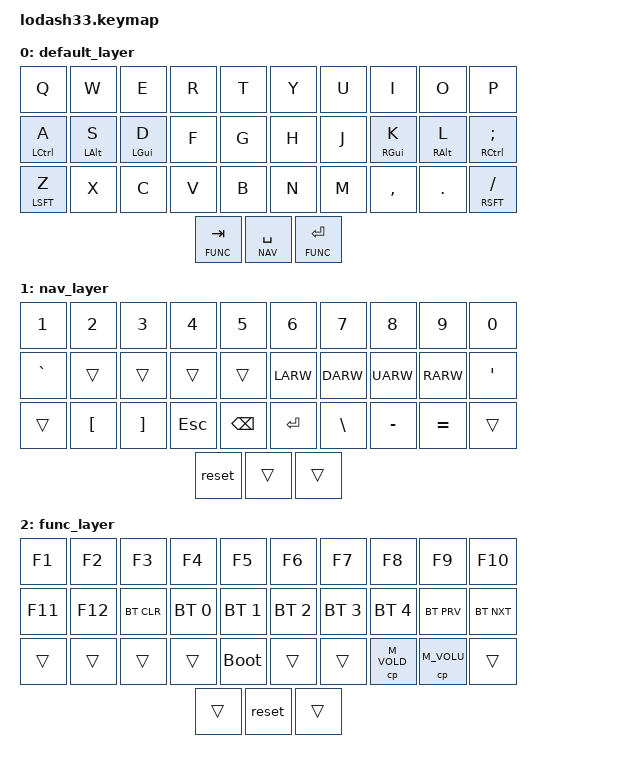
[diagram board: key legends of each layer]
/*
 * Copyright (c) 2020 The ZMK Contributors
 *
 * SPDX-License-Identifier: MIT
 */

#include <behaviors.dtsi>
#include <dt-bindings/zmk/keys.h>
#include <dt-bindings/zmk/bt.h>

#define DEFAULT 0
#define NAV     1
#define FUNC    2

/ {
    behaviors {
        hm: homerow_mods {
            compatible = "zmk,behavior-hold-tap";
            label = "homerow mods";
            #binding-cells = <2>;
            tapping_term_ms = <180>;
            flavor = "tap-preferred";
            bindings = <&kp>, <&kp>;
        };
    };
};

/ {
    keymap {
        compatible = "zmk,keymap";

        default_layer {
            bindings = <
                &kp Q &kp W &kp E &kp R &kp T &kp Y &kp U &kp I &kp O &kp P
                &hm LCTL A &hm LALT S &hm LGUI D &kp F &kp G &kp H &kp J &hm RGUI K &hm RALT L &hm RCTL SCLN
                &hm LSFT Z &kp X &kp C &kp V &kp B &kp N &kp M &kp CMMA &kp DOT &hm RSFT FSLH
                &lt FUNC TAB &lt NAV SPC &lt FUNC RET
            >;
        };

        nav_layer {
            bindings = <
                &kp NUM_1 &kp NUM_2 &kp NUM_3 &kp NUM_4 &kp NUM_5 &kp NUM_6 &kp NUM_7 &kp NUM_8 &kp NUM_9 &kp NUM_0
                &kp GRAV &trans &trans &trans &trans &kp LARW &kp DARW &kp UARW &kp RARW &kp QUOT
                &trans &kp LBKT &kp RBKT &kp ESC &kp BKSP &kp RET &kp BSLH &kp MINUS &kp EQL &trans
                &reset &trans &trans
            >;
        };

        func_layer {
            bindings = <
                &kp F1 &kp F2 &kp F3 &kp F4 &kp F5 &kp F6 &kp F7 &kp F8 &kp F9 &kp F10
                &kp F11 &kp F12 &bt BT_CLR &bt BT_SEL 0 &bt BT_SEL 1 &bt BT_SEL 2 &bt BT_SEL 3 &bt BT_SEL 4 &bt BT_PRV &bt BT_NXT
                &trans &trans &trans &trans &bootloader &trans &trans &cp M_VOLD &cp M_VOLU &trans
                &trans &reset &trans
            >;
        };
    };
};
